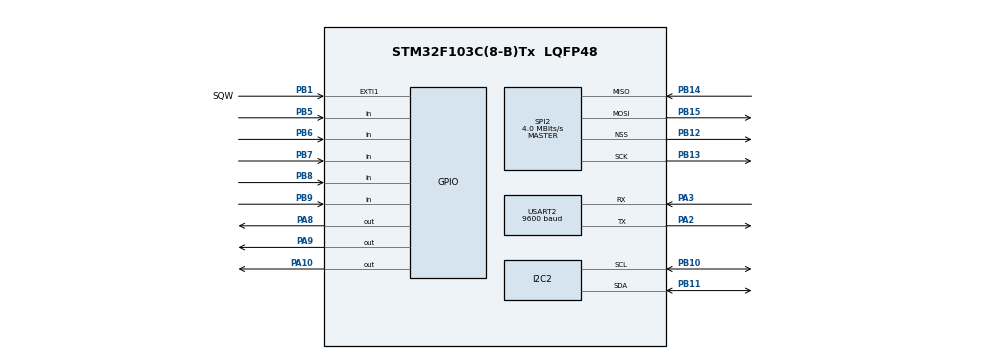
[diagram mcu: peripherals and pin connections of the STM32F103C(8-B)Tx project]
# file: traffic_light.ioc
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Mcu.Family=STM32F1
Mcu.Name=STM32F103C(8-B)Tx
Mcu.Package=LQFP48
NVIC.EXTI1_IRQn=true\:0\:0\:false\:false\:true\:true\:true\:true
NVIC.PriorityGroup=NVIC_PRIORITYGROUP_4
PA10.Signal=GPIO_Output
PA2.Mode=Asynchronous
PA2.Signal=USART2_TX
PA3.Mode=Asynchronous
PA3.Signal=USART2_RX
PA8.Signal=GPIO_Output
PA9.Signal=GPIO_Output
PB1.GPIO_Label=SQW
PB1.Signal=GPXTI1
PB10.Mode=I2C
PB10.Signal=I2C2_SCL
PB11.Mode=I2C
PB11.Signal=I2C2_SDA
PB12.Mode=NSS_Signal_Hard_Output
PB12.Signal=SPI2_NSS
PB13.Mode=Full_Duplex_Master
PB13.Signal=SPI2_SCK
PB14.Mode=Full_Duplex_Master
PB14.Signal=SPI2_MISO
PB15.Mode=Full_Duplex_Master
PB15.Signal=SPI2_MOSI
PB5.GPIO_PuPd=GPIO_PULLDOWN
PB5.Signal=GPIO_Input
PB6.GPIO_PuPd=GPIO_PULLDOWN
PB6.Signal=GPIO_Input
PB7.GPIO_PuPd=GPIO_PULLDOWN
PB7.Signal=GPIO_Input
PB8.GPIO_PuPd=GPIO_PULLDOWN
PB8.Signal=GPIO_Input
PB9.GPIO_PuPd=GPIO_PULLDOWN
PB9.Signal=GPIO_Input
ProjectManager.HeapSize=0x200
ProjectManager.StackSize=0x400
ProjectManager.TargetToolchain=STM32CubeIDE
RCC.APB1Freq_Value=8000000
RCC.APB2Freq_Value=8000000
SPI2.CalculateBaudRate=4.0 MBits/s
SPI2.Direction=SPI_DIRECTION_2LINES
SPI2.Mode=SPI_MODE_MASTER
SPI2.VirtualNSS=VM_NSSHARD
SPI2.VirtualType=VM_MASTER
USART2.BaudRate=9600
USART2.VirtualMode=VM_ASYNC
VP_SYS_VS_ND.Mode=No_Debug
board=custom

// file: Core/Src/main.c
/* USER CODE BEGIN Header */
/**
  ******************************************************************************
  * @file           : main.c
  * @brief          : Main program body
  ******************************************************************************
  * @attention
  *
  * Copyright (c) 2025 STMicroelectronics.
  * All rights reserved.
  *
  * This software is licensed under terms that can be found in the LICENSE file
  * in the root directory of this software component.
  * If no LICENSE file comes with this software, it is provided AS-IS.
  *
  ******************************************************************************
  */
/* USER CODE END Header */
#include "main.h"

/* USER CODE BEGIN Includes */
#include "7LedSeg.h"
#include "i2c-lcd.h"
#include "HC12.h"
#include <stdio.h>

/* USER CODE END Includes */

/* USER CODE BEGIN PTD */

typedef struct {
	uint8_t seconds;
	uint8_t minutes;
	uint8_t hour;
	uint8_t dayofweek;
	uint8_t dayofmonth;
	uint8_t month;
	uint8_t year;
} Time;

Time time;

char buffer[20];

#define DS3231_ADDRESS 0x68 << 1

/* USER CODE END PTD */

/* USER CODE BEGIN PD */
#define SEVEN_LED_SEG_SPI &hspi2
/* USER CODE END PD */

I2C_HandleTypeDef hi2c2;

SPI_HandleTypeDef hspi2;

UART_HandleTypeDef huart2;

/* USER CODE BEGIN PV */
extern SPI_HandleTypeDef hspi2;
volatile uint8_t normal_mode_flag = 0;
volatile uint8_t heavy_mode_flag = 0;
volatile uint8_t night_mode_flag = 0;
volatile uint8_t control_mode_flag = 0;
volatile uint8_t lastbutton = 0;  // Only use in Control Mode
volatile uint8_t direction = 0; // 0: Master - Slave 2 GREEN, 1: Slave 1 - Slave 3 RED
volatile uint8_t min=0;

// Numbers

const uint8_t digitCodes[11] = {
    ~0x3F,  // 0 -> 0b00111111
    ~0x06,  // 1 -> 0b00000110
    ~0x5B,  // 2 -> 0b01011011
    ~0x4F,  // 3 -> 0b01001111
    ~0x66,  // 4 -> 0b01100110
    ~0x6D,  // 5 -> 0b01101101
    ~0x7D,  // 6 -> 0b01111101
    ~0x07,  // 7 -> 0b00000111
    ~0x7F,  // 8 -> 0b01111111
    ~0x6F,  // 9 -> 0b01101111
	~0x00   // n -> 0b00000000
};

/* USER CODE END PV */

void SystemClock_Config(void);
static void MX_GPIO_Init(void);
static void MX_SPI2_Init(void);
static void MX_I2C2_Init(void);
static void MX_USART2_UART_Init(void);
/* USER CODE BEGIN PFP */
uint8_t isButtonPressed(GPIO_TypeDef *GPIOx, uint16_t GPIO_Pin);
void updateState(void);
void switchToLightTrafficMode(void);
void switchToHeavyTrafficMode(void);
void switchToControlMode(void);
void switchToNightMode(void);
void DS3231_Enable_Alarm1_OncePerSecond(I2C_HandleTypeDef *hi2c);
void detect_button(void);

/* USER CODE END PFP */

int main(void)
{

  /* MCU Configuration--------------------------------------------------------*/

  /* Reset of all peripherals, Initializes the Flash interface and the Systick. */
  HAL_Init();

  /* Configure the system clock */
  SystemClock_Config();

  /* Initialize all configured peripherals */
  MX_GPIO_Init();
  MX_SPI2_Init();
  MX_I2C2_Init();
  MX_USART2_UART_Init();
  /* USER CODE BEGIN 2 */

  HAL_Delay(300);			// Wait 100ms for LCD to power up properly

  lcd_init();

  // Enable Alarm 1 every second via INT/SQW
  DS3231_Enable_Alarm1_OncePerSecond(&hi2c2);

  // Sec | Min | Hour | DayOfWeek | DayOfMonth | Month | Year)
  // Set time on DS3231: 9:28:10, 3nd day of the week, 4th day of the month, April 2025
  //Set_Time(10, 28, 9, 3, 4, 5, 25);

  /* USER CODE END 2 */

  /* Infinite loop */
  /* USER CODE BEGIN WHILE */
  while (1)
  {

	 detect_button();

	 updateState();

    /* USER CODE END WHILE */

  }
}

void SystemClock_Config(void)
{
  RCC_OscInitTypeDef RCC_OscInitStruct = {0};
  RCC_ClkInitTypeDef RCC_ClkInitStruct = {0};

  /** Initializes the RCC Oscillators according to the specified parameters
  * in the RCC_OscInitTypeDef structure.
  */
  RCC_OscInitStruct.OscillatorType = RCC_OSCILLATORTYPE_HSI;
  RCC_OscInitStruct.HSIState = RCC_HSI_ON;
  RCC_OscInitStruct.HSICalibrationValue = RCC_HSICALIBRATION_DEFAULT;
  RCC_OscInitStruct.PLL.PLLState = RCC_PLL_NONE;
  if (HAL_RCC_OscConfig(&RCC_OscInitStruct) != HAL_OK)
  {
    Error_Handler();
  }

  /** Initializes the CPU, AHB and APB buses clocks
  */
  RCC_ClkInitStruct.ClockType = RCC_CLOCKTYPE_HCLK|RCC_CLOCKTYPE_SYSCLK
                              |RCC_CLOCKTYPE_PCLK1|RCC_CLOCKTYPE_PCLK2;
  RCC_ClkInitStruct.SYSCLKSource = RCC_SYSCLKSOURCE_HSI;
  RCC_ClkInitStruct.AHBCLKDivider = RCC_SYSCLK_DIV1;
  RCC_ClkInitStruct.APB1CLKDivider = RCC_HCLK_DIV1;
  RCC_ClkInitStruct.APB2CLKDivider = RCC_HCLK_DIV1;

  if (HAL_RCC_ClockConfig(&RCC_ClkInitStruct, FLASH_LATENCY_0) != HAL_OK)
  {
    Error_Handler();
  }
}

static void MX_I2C2_Init(void)
{

  hi2c2.Instance = I2C2;
  hi2c2.Init.ClockSpeed = 100000;
  hi2c2.Init.DutyCycle = I2C_DUTYCYCLE_2;
  hi2c2.Init.OwnAddress1 = 0;
  hi2c2.Init.AddressingMode = I2C_ADDRESSINGMODE_7BIT;
  hi2c2.Init.DualAddressMode = I2C_DUALADDRESS_DISABLE;
  hi2c2.Init.OwnAddress2 = 0;
  hi2c2.Init.GeneralCallMode = I2C_GENERALCALL_DISABLE;
  hi2c2.Init.NoStretchMode = I2C_NOSTRETCH_DISABLE;
  if (HAL_I2C_Init(&hi2c2) != HAL_OK)
  {
    Error_Handler();
  }

}

static void MX_SPI2_Init(void)
{

  /* SPI2 parameter configuration*/
  hspi2.Instance = SPI2;
  hspi2.Init.Mode = SPI_MODE_MASTER;
  hspi2.Init.Direction = SPI_DIRECTION_2LINES;
  hspi2.Init.DataSize = SPI_DATASIZE_8BIT;
  hspi2.Init.CLKPolarity = SPI_POLARITY_LOW;
  hspi2.Init.CLKPhase = SPI_PHASE_1EDGE;
  hspi2.Init.NSS = SPI_NSS_HARD_OUTPUT;
  hspi2.Init.BaudRatePrescaler = SPI_BAUDRATEPRESCALER_2;
  hspi2.Init.FirstBit = SPI_FIRSTBIT_MSB;
  hspi2.Init.TIMode = SPI_TIMODE_DISABLE;
  hspi2.Init.CRCCalculation = SPI_CRCCALCULATION_DISABLE;
  hspi2.Init.CRCPolynomial = 10;
  if (HAL_SPI_Init(&hspi2) != HAL_OK)
  {
    Error_Handler();
  }

}

static void MX_USART2_UART_Init(void)
{

  huart2.Instance = USART2;
  huart2.Init.BaudRate = 9600;
  huart2.Init.WordLength = UART_WORDLENGTH_8B;
  huart2.Init.StopBits = UART_STOPBITS_1;
  huart2.Init.Parity = UART_PARITY_NONE;
  huart2.Init.Mode = UART_MODE_TX_RX;
  huart2.Init.HwFlowCtl = UART_HWCONTROL_NONE;
  huart2.Init.OverSampling = UART_OVERSAMPLING_16;
  if (HAL_UART_Init(&huart2) != HAL_OK)
  {
    Error_Handler();
  }

}

static void MX_GPIO_Init(void)
{
  GPIO_InitTypeDef GPIO_InitStruct = {0};

  /* GPIO Ports Clock Enable */
  __HAL_RCC_GPIOA_CLK_ENABLE();
  __HAL_RCC_GPIOB_CLK_ENABLE();

  /*Configure GPIO pin Output Level */
  HAL_GPIO_WritePin(GPIOA, GPIO_PIN_8|GPIO_PIN_9|GPIO_PIN_10, GPIO_PIN_RESET);

  /*Configure GPIO pin : SQW_Pin */
  GPIO_InitStruct.Pin = SQW_Pin;
  GPIO_InitStruct.Mode = GPIO_MODE_IT_RISING;
  GPIO_InitStruct.Pull = GPIO_NOPULL;
  HAL_GPIO_Init(SQW_GPIO_Port, &GPIO_InitStruct);

  /*Configure GPIO pins : PA8 PA9 PA10 */
  GPIO_InitStruct.Pin = GPIO_PIN_8|GPIO_PIN_9|GPIO_PIN_10;
  GPIO_InitStruct.Mode = GPIO_MODE_OUTPUT_PP;
  GPIO_InitStruct.Pull = GPIO_NOPULL;
  GPIO_InitStruct.Speed = GPIO_SPEED_FREQ_LOW;
  HAL_GPIO_Init(GPIOA, &GPIO_InitStruct);

  /*Configure GPIO pins : PB5 PB6 PB7 PB8
                           PB9 */
  GPIO_InitStruct.Pin = GPIO_PIN_5|GPIO_PIN_6|GPIO_PIN_7|GPIO_PIN_8
                          |GPIO_PIN_9;
  GPIO_InitStruct.Mode = GPIO_MODE_INPUT;
  GPIO_InitStruct.Pull = GPIO_PULLDOWN;
  HAL_GPIO_Init(GPIOB, &GPIO_InitStruct);

  /* EXTI interrupt init*/
  HAL_NVIC_SetPriority(EXTI1_IRQn, 0, 0);
  HAL_NVIC_EnableIRQ(EXTI1_IRQn);

}

/* USER CODE BEGIN 4 */

uint8_t isButtonPressed(GPIO_TypeDef *GPIOx, uint16_t GPIO_Pin)
{

    static uint32_t lastDebounceTime = 0;
    uint32_t debounceDelay = 50; // Thời gian debounce 50ms

    if (HAL_GPIO_ReadPin(GPIOx, GPIO_Pin) == GPIO_PIN_SET)
    {
        uint32_t currentTime = HAL_GetTick();
        if ((currentTime - lastDebounceTime) >= debounceDelay)
        {
            lastDebounceTime = currentTime;
            // Đợi cho đến khi nút được thả ra
            while (HAL_GPIO_ReadPin(GPIOx, GPIO_Pin) == GPIO_PIN_SET);
            return 1;
        }
    }
    return 0;
}

// Function to send data to the shift register via SPI
void shiftOut(uint8_t data) {
    HAL_GPIO_WritePin(NSS_PORT, NSS_PIN, GPIO_PIN_RESET);  				// Pull NSS low to start transmission
    HAL_SPI_Transmit(SEVEN_LED_SEG_SPI, &data, 1, HAL_MAX_DELAY);  		// Send data
    HAL_GPIO_WritePin(NSS_PORT, NSS_PIN, GPIO_PIN_SET);    				// Pull NSS high to end transmission
}

// Function to display a two-digit number
void displayNumber(uint8_t number) {
    if (number > 99) return;  			// Limit to 2 digits

    uint8_t tens = number / 10;      	// Extract tens digit
    uint8_t units = number % 10;     	// Extract units digit

    // Send tens digit to first 7-segment display
    shiftOut(digitCodes[units]);
    HAL_Delay(50);  // Small delay to stabilize display

    // Send units digit to second 7-segment display
    shiftOut(digitCodes[tens]);
    HAL_Delay(50);  // Small delay to stabilize display
}

// Function to CountDown number
void countDownNum(uint8_t number){
	// Loop displaying number
	for (int8_t i = number; i >= 0; i--) {
		uint32_t start_time = HAL_GetTick();
		displayNumber(i);      	// Display xx to 00
		while (HAL_GetTick() - start_time < 1000) {
			detect_button();
		}
	}
}

void updateState(void)
{
    if (normal_mode_flag)
    {
        switchToLightTrafficMode();
    }
    else if (heavy_mode_flag)
    {
        switchToHeavyTrafficMode();
    }
    else if (night_mode_flag)
    {
        switchToNightMode();
    }
    else if (control_mode_flag)
    {
        switchToControlMode();
    }
}

void detect_button(void)
{
	if (isButtonPressed(GPIOB, GPIO_PIN_5) || (min == 4)) {
		normal_mode_flag = 1;
		heavy_mode_flag = 0;
		night_mode_flag = 0;
		control_mode_flag = 0;
		lastbutton = 0;
		direction = 0;
		min = 0;
	}
	else if (isButtonPressed(GPIOB, GPIO_PIN_6) || (min == 2)) {
		normal_mode_flag = 0;
		heavy_mode_flag = 1;
		night_mode_flag = 0;
		control_mode_flag = 0;
		lastbutton = 0;
		direction = 0;
		min = 0;
	}
	else if (isButtonPressed(GPIOB, GPIO_PIN_7) || (min == 1) ) {
		normal_mode_flag = 0;
		heavy_mode_flag = 0;
		night_mode_flag = 1;
		control_mode_flag = 0;
		lastbutton = 0;
		direction = 0;
		min = 0;
	}
	else if (isButtonPressed(GPIOB, GPIO_PIN_8)) {
		normal_mode_flag = 0;
		heavy_mode_flag = 0;
		night_mode_flag = 0;
		control_mode_flag = 1;
		lastbutton = 0;
		direction = 0;
		min = 0;
	}
	else if (isButtonPressed(GPIOB, GPIO_PIN_9) && control_mode_flag) {
    	normal_mode_flag = 0;
    	heavy_mode_flag = 0;
    	night_mode_flag = 0;
    	control_mode_flag = 1;
    	lastbutton = 1;
    	direction = ~direction;
    	min = 0;
    }
}

void switchToLightTrafficMode(void)
{

    // Reset mode_timer mỗi lần gọi hàm
        uint32_t startTime = HAL_GetTick();  // Lấy thời gian bắt đầu
        lcd_put_cur (0,9);
        lcd_send_string("LIGHT  ");			// Display MODE

        HC12_SendMode(HC12_MODE_NORMAL);

        // Dèn xanh sáng trong 20 giây
        startTime = HAL_GetTick();  // Cập nhật lại thời gian bắt đầu
        while (HAL_GetTick() - startTime < 21000) {
            HAL_GPIO_WritePin(GPIOA, GPIO_PIN_8, GPIO_PIN_SET);  // Bật đèn xanh PA8
            HAL_GPIO_WritePin(GPIOA, GPIO_PIN_9 | GPIO_PIN_10, GPIO_PIN_RESET);  // Tắt PA9 và PA10
            countDownNum(20);
        }

        // đèn vàng sáng trong 5 giây
        startTime = HAL_GetTick();  // Cập nhật lại thời gian bắt đầu
        while (HAL_GetTick() - startTime < 6000) {
            HAL_GPIO_WritePin(GPIOA, GPIO_PIN_9, GPIO_PIN_SET);  // Bật đèn vàng PA9
            HAL_GPIO_WritePin(GPIOA, GPIO_PIN_8 | GPIO_PIN_10, GPIO_PIN_RESET);  // Tắt PA8 và PA10
            countDownNum(5);
        }

        // Đèn đỏ sáng trong 25 giây
        startTime = HAL_GetTick();  // Cập nhật lại thời gian bắt đầu
        while (HAL_GetTick() - startTime < 26000) {
            HAL_GPIO_WritePin(GPIOA, GPIO_PIN_10, GPIO_PIN_SET);  // Bật đèn đỏ PA10
            HAL_GPIO_WritePin(GPIOA, GPIO_PIN_8 | GPIO_PIN_9, GPIO_PIN_RESET);  // Tắt PA8 và PA9
            countDownNum(25);
            HAL_Delay (1000);
        }

}

void switchToHeavyTrafficMode(void)
{

    uint32_t mode_timer = HAL_GetTick();
    lcd_put_cur (0,9);
    lcd_send_string("HEAVY  ");			// Display MODE

    HC12_SendMode(HC12_MODE_HEAVY);

    // Dèn xanh sáng trong 60 giây
    while (HAL_GetTick() - mode_timer < 61000) {
        HAL_GPIO_WritePin(GPIOA, GPIO_PIN_8, GPIO_PIN_SET);  // Bật đèn xanh PA8
        HAL_GPIO_WritePin(GPIOA, GPIO_PIN_9 | GPIO_PIN_10, GPIO_PIN_RESET);  // Tắt PA9 và PA10
        countDownNum(60);
    }

    // đèn vàng sáng trong 5 giây
    mode_timer = HAL_GetTick();  // Cập nhật lại thời gian bắt đầu
    while (HAL_GetTick() - mode_timer < 6000) {
        HAL_GPIO_WritePin(GPIOA, GPIO_PIN_9, GPIO_PIN_SET);  // Bật đèn vàng PA9
        HAL_GPIO_WritePin(GPIOA, GPIO_PIN_8 | GPIO_PIN_10, GPIO_PIN_RESET);  // Tắt PA8 và PA10
        countDownNum(5);
    }

    // Đèn đỏ sáng trong 65 giây
    mode_timer = HAL_GetTick();  // Cập nhật lại thời gian bắt đầu
    while (HAL_GetTick() - mode_timer < 66000) {
        HAL_GPIO_WritePin(GPIOA, GPIO_PIN_10, GPIO_PIN_SET);  // Bật đèn đỏ PA10
        HAL_GPIO_WritePin(GPIOA, GPIO_PIN_8 | GPIO_PIN_9, GPIO_PIN_RESET);  // Tắt PA8 và PA9
        countDownNum(65);
        HAL_Delay (1000);
    }
}

void switchToNightMode(void)
{

    lcd_put_cur (0,9);
    lcd_send_string("NIGHT  ");			// Display MODE

    HC12_SendMode(HC12_MODE_NIGHT);

    shiftOut(digitCodes[10]);

    HAL_GPIO_WritePin(GPIOA, GPIO_PIN_8|GPIO_PIN_10, GPIO_PIN_RESET);
    uint32_t time_now = HAL_GetTick();
    while (HAL_GetTick() - time_now < 500) {
    	HAL_GPIO_WritePin(GPIOA, GPIO_PIN_9, GPIO_PIN_SET);
    }

    time_now = HAL_GetTick();
    while (HAL_GetTick() - time_now < 500) {
        HAL_GPIO_WritePin(GPIOA, GPIO_PIN_9, GPIO_PIN_RESET);
    }
}

void switchToControlMode(void)
{

    lcd_put_cur (0,9);
    lcd_send_string("CONTROL");			// Display MODE

    HC12_SendMode(HC12_MODE_CONTROL);

    if (lastbutton == 0) {
    	shiftOut(digitCodes[10]);
    	if (direction == 0) {
    		HAL_GPIO_WritePin(GPIOA, GPIO_PIN_10, GPIO_PIN_SET);
    		HAL_GPIO_WritePin(GPIOA, GPIO_PIN_8|GPIO_PIN_9, GPIO_PIN_RESET);
    	}
    	else {
    		HAL_GPIO_WritePin(GPIOA, GPIO_PIN_8, GPIO_PIN_SET);
    		HAL_GPIO_WritePin(GPIOA, GPIO_PIN_9|GPIO_PIN_10, GPIO_PIN_RESET);
    	}
    }

    else if (lastbutton == 1) {
    	if (direction == 0) {
    		for (int i = 0; i < 100; i++) {
    		HC12_SendMode(HC12_MODE_CONTROL_STATE);
    		}
    		uint32_t start_time  = HAL_GetTick();
    		lastbutton = 0;
    		while (HAL_GetTick() - start_time < 5000) {
    			HAL_GPIO_WritePin(GPIOA, GPIO_PIN_8, GPIO_PIN_SET);
    			HAL_GPIO_WritePin(GPIOA, GPIO_PIN_9|GPIO_PIN_10, GPIO_PIN_RESET);
    			countDownNum(5);
    		}

    		start_time  = HAL_GetTick();
    		while (HAL_GetTick() - start_time < 3000) {
    		    HAL_GPIO_WritePin(GPIOA, GPIO_PIN_9, GPIO_PIN_SET);
    		    HAL_GPIO_WritePin(GPIOA, GPIO_PIN_8|GPIO_PIN_10, GPIO_PIN_RESET);
    		    countDownNum(3);
    		}
    	}

    	else if (direction != 0) {
    		for (int i = 0; i < 100; i++) {
    		HC12_SendMode(HC12_MODE_CONTROL_STATE);
    		}

    		lastbutton = 0;
    	    uint32_t start_time  = HAL_GetTick();
    	    while (HAL_GetTick() - start_time < 8000) {
    	    	HAL_GPIO_WritePin(GPIOA, GPIO_PIN_10, GPIO_PIN_SET);
    	    	HAL_GPIO_WritePin(GPIOA, GPIO_PIN_8|GPIO_PIN_9, GPIO_PIN_RESET);
    	    	countDownNum(8);
    	    }
    	}
    }
}

// Convert normal decimal numbers to binary coded decimal
uint8_t decToBcd(int val)
{
  return (uint8_t)( (val/10*16) + (val%10) );
}

// Convert binary coded decimal to normal decimal numbers
int bcdToDec(uint8_t val)
{
  return (int)( (val/16*10) + (val%16) );
}

/* function to set time */
void Set_Time (uint8_t sec, uint8_t min, uint8_t hour, uint8_t dow, uint8_t dom, uint8_t month, uint8_t year)
{
	uint8_t set_time[7];
	set_time[0] = decToBcd(sec);
	set_time[1] = decToBcd(min);
	set_time[2] = decToBcd(hour);
	set_time[3] = decToBcd(dow);
	set_time[4] = decToBcd(dom);
	set_time[5] = decToBcd(month);
	set_time[6] = decToBcd(year);

	HAL_I2C_Mem_Write(&hi2c2, DS3231_ADDRESS, 0x00, 1, set_time, 7, 1000);
}

/* function to get time */
void Get_Time (void)
{
	uint8_t get_time[7];
	HAL_I2C_Mem_Read(&hi2c2, DS3231_ADDRESS, 0x00, 1, get_time, 7, 1000);
	time.seconds = bcdToDec(get_time[0]);
	time.minutes = bcdToDec(get_time[1]);
	time.hour = bcdToDec(get_time[2]);
	time.dayofweek = bcdToDec(get_time[3]);
	time.dayofmonth = bcdToDec(get_time[4]);
	time.month = bcdToDec(get_time[5]);
	time.year = bcdToDec(get_time[6]);
}

/* function to enable alarm OnePerSecond */
void DS3231_Enable_Alarm1_OncePerSecond(I2C_HandleTypeDef *hi2c) {
    uint8_t alarm_regs[4] = {0x80, 0x80, 0x80, 0x80};  	// A1M1–A1M4 = 1
    uint8_t control_reg = 0x01;  						// INTCN = 0, A1IE = 1

    // Set alarm registers (0x07 to 0x0A)
    HAL_I2C_Mem_Write(hi2c, DS3231_ADDRESS, 0x07, 1, alarm_regs, 4, 100);

   // Set control register (0x0E)
   HAL_I2C_Mem_Write(hi2c, DS3231_ADDRESS, 0x0E, 1, &control_reg, 1, 100);

   // Clear any existing alarm flags in status register (0x0F)
   uint8_t status = 0x00;
   HAL_I2C_Mem_Write(hi2c, DS3231_ADDRESS, 0x0F, 1, &status, 1, 100);
}

void HAL_GPIO_EXTI_Callback(uint16_t GPIO_Pin)
{
/* Prevent unused argument(s) compilation warning */
UNUSED(GPIO_Pin);

  if (GPIO_Pin == SQW_Pin) // PB1 triggered this
  {
    // Clear the A1F flag (write 0 to bit 0 of Status Register 0x0F)
	uint8_t status;
	HAL_I2C_Mem_Read(&hi2c2, DS3231_ADDRESS, 0x0F, 1, &status, 1, 100);
	status &= ~0x01; // Clear only A1F
	HAL_I2C_Mem_Write(&hi2c2, DS3231_ADDRESS, 0x0F, 1, &status, 1, 100);

    // Get time and update to LCD
	Get_Time();

	static uint8_t last_minute = 255; 					// Track the last minute to detect changes
	        if (time.minutes != last_minute) 			// Only process when minute changes
	        {
	            if (time.minutes == 20) {
	                min = 1; 									// Triggers NIGHT_MODE
	                detect_button(); 							// Trigger mode change
	                min = 0; 									// Reset min to prevent repeated triggers
	            } else if (time.minutes == 40) {
	                min = 2; 									// Triggers HEAVY_TRAFFIC_MODE
	                detect_button();
	                min = 0;
	            } else if (time.minutes == 59) {
	                min = 4; 									// Triggers LIGHT_TRAFFIC_MODE
	                detect_button();
	                min = 0;
	            }
	            last_minute = time.minutes; 					// Update last minute
	        }

	//lcd_clear();
	sprintf (buffer, "%02d:%02d:%02d", time.hour, time.minutes, time.seconds);
	lcd_put_cur (0,0);
	lcd_send_string(buffer);			// Display Time

	sprintf (buffer, "%02d/%02d/20%02d      ", time.dayofmonth, time.month, time.year);
	lcd_put_cur(1, 0);
	lcd_send_string(buffer);			// Display Date

  }
}

/* USER CODE END 4 */

void Error_Handler(void)
{
  __disable_irq();
  while (1)
  {
  }
}
